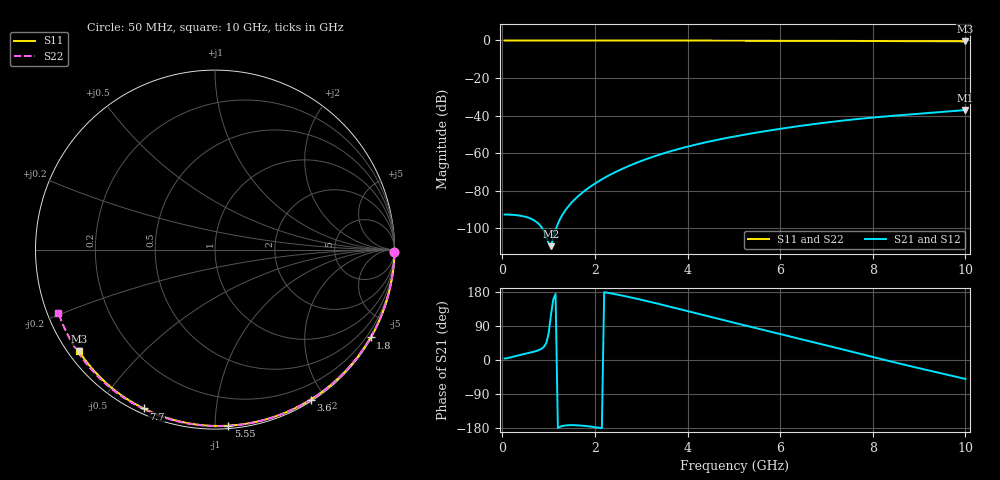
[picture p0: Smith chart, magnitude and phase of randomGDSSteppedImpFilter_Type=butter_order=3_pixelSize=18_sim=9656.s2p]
! freq	dB(S11)	phase(S11)	dB(S12)	phase(S12)
!  dB(S21)	phase(S21)	dB(S22)	phase(S22)
!S-par simulation data
#  GHz  S  DB  R 50
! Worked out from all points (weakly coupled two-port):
!   200 points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, 50 MHz to 10 GHz, reference 50 ohm
!   highest |S21| = -37.06 dB at 10 GHz (marker M1); lowest = -109.6 dB at 1.05 GHz (marker M2)
!   lowest |S11| = -0.5 dB at 10 GHz (marker M3), VSWR 35.88, Z = 1.55 - j16.6 ohm
!   |S11| at or under -10 dB: nowhere
!   |S22| runs from -0.5 to 0.0 dB; largest |S21 - S12| = 0
!   S11 on the Smith chart (normalised r, x): 50 MHz: open; 1.8 GHz: 0.03, -3.80; 3.6 GHz: 0.02, -1.82; 5.55 GHz: 0.02, -1.08; 7.7 GHz: 0.02, -0.65; 10 GHz: 0.03, -0.33
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0.05  -0.00 -0.8  -92.70 4.1  -92.70 4.1  -0.00 -0.9
0.55  -0.01 -9.1  -94.28 18.0  -94.28 18.0  -0.01 -10.0
1.05  -0.02 -17.3  -109.56 117.9  -109.56 117.9  -0.02 -18.9
1.75  -0.04 -28.7  -80.62 -173.5  -80.62 -173.5  -0.04 -31.2
1.8  -0.04 -29.5  -79.66 -174.1  -79.66 -174.1  -0.04 -32.1
1.95  -0.04 -31.9  -77.04 -176.3  -77.04 -176.3  -0.04 -34.7
2.1  -0.04 -34.2  -74.69 -179.0  -74.69 -179.0  -0.05 -37.3
2.3  -0.05 -37.4  -71.91 176.9  -71.91 176.9  -0.05 -40.8
2.5  -0.05 -40.6  -69.42 172.2  -69.42 172.2  -0.06 -44.2
2.95  -0.06 -47.6  -64.66 160.4  -64.66 160.4  -0.07 -51.8
3.4  -0.07 -54.5  -60.76 147.3  -60.76 147.3  -0.08 -59.3
3.6  -0.08 -57.5  -59.25 141.3  -59.25 141.3  -0.08 -62.6
4.25  -0.10 -67.1  -55.05 121.3  -55.05 121.3  -0.10 -73.1
5.05  -0.12 -78.6  -50.97 97.0  -50.97 97.0  -0.13 -85.6
5.55  -0.14 -85.6  -48.82 82.2  -48.82 82.2  -0.15 -93.2
6.1  -0.17 -93.1  -46.70 65.8  -46.70 65.8  -0.18 -101.5
6.7  -0.20 -101.2  -44.63 47.8  -44.63 47.8  -0.22 -110.3
7.2  -0.23 -107.7  -43.11 32.5  -43.11 32.5  -0.25 -117.6
7.7  -0.26 -114.2  -41.77 17.1  -41.77 17.1  -0.29 -124.8
8.35  -0.31 -122.5  -40.29 -2.6  -40.29 -2.6  -0.35 -134.1
9.2  -0.39 -133.2  -38.64 -27.4  -38.64 -27.4  -0.43 -146.3
10  -0.48 -143.2  -37.06 -50.0  -37.06 -50.0  -0.53 -158.1
